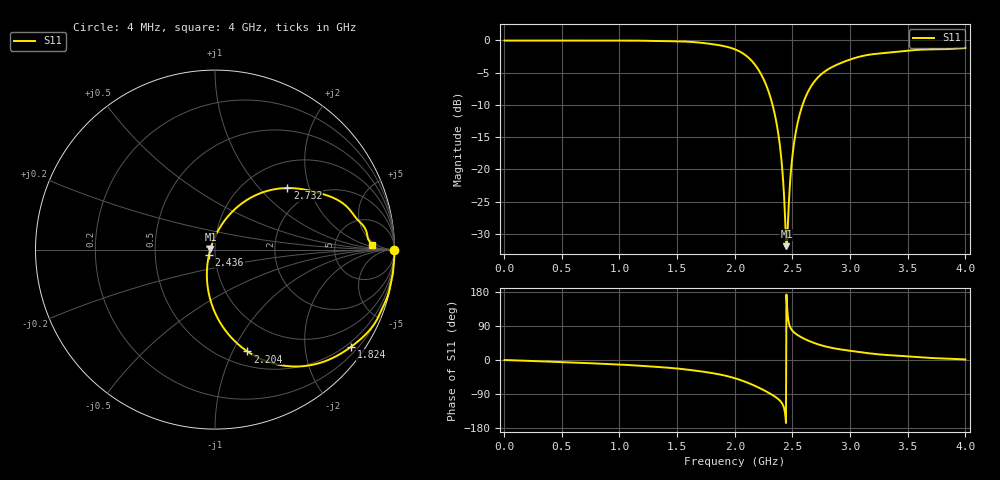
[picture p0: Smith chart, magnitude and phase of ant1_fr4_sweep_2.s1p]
! TOUCHSTONE file generated by CST MICROWAVE STUDIO
! Date and time: Fri May  6 15:38:52 2022
! Project name: ant1_ceramic_sweep_fr4.cst
! Parameters = {e=0.035; h=1.6; i=0.72; l1=0.5; l2=20.96; ls=80; wl=1.7; ws=30}
! Header version: 2018
! Port assignment regex: !\s*Touchstone port\s*([0-9]+)\s*=\s*(CST MWS port|CST DS port)\s*([0-9]+|Zmin|Zmax)\s*\(\"(.*)\"\)(\s*mode\s*([0-9]+))?.*
! Touchstone port assignment:
! Touchstone port 1 = CST MWS port 1 ("")
# GHz S DB R 50
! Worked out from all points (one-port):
!   1000 points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, 4 MHz to 4 GHz, reference 50 ohm
!   lowest |S11| = -31.9 dB at 2.448 GHz (marker M1), VSWR 1.05, Z = 47.5 + j0.306 ohm
!   |S11| at or under -10 dB: 2.328 GHz to 2.588 GHz (259.8 MHz wide, 10.6 % of centre)
!   S11 on the Smith chart (normalised r, x): 4 MHz: open; 1.824 GHz: 0.38, -3.07; 2.204 GHz: 0.65, -1.14; 2.436 GHz: 0.93, -0.05; 2.732 GHz: 1.52, +1.45; 4 GHz: 14, +3
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0.004  -0.02 -0.0
0.504  -0.02 -5.4
1.004  -0.02 -12.1
1.504  -0.14 -22.6
1.824  -0.62 -35.6
2.004  -1.39 -48.3
2.112  -2.56 -60.0
2.204  -4.50 -72.3
2.292  -7.86 -86.2
2.36  -12.60 -99.1
2.384  -15.27 -105.0
2.404  -18.36 -111.7
2.416  -20.88 -117.7
2.436  -27.34 -140.3
2.448  -31.89 172.7
2.456  -30.46 129.3
2.464  -27.06 105.7
2.484  -20.93 84.5
2.504  -17.27 75.9
2.54  -13.22 66.8
2.588  -9.98 58.2
2.652  -7.40 49.2
2.732  -5.53 40.4
2.844  -4.12 31.9
3.004  -2.93 24.1
3.192  -2.14 16.7
3.504  -1.58 9.5
4  -1.17 1.5
